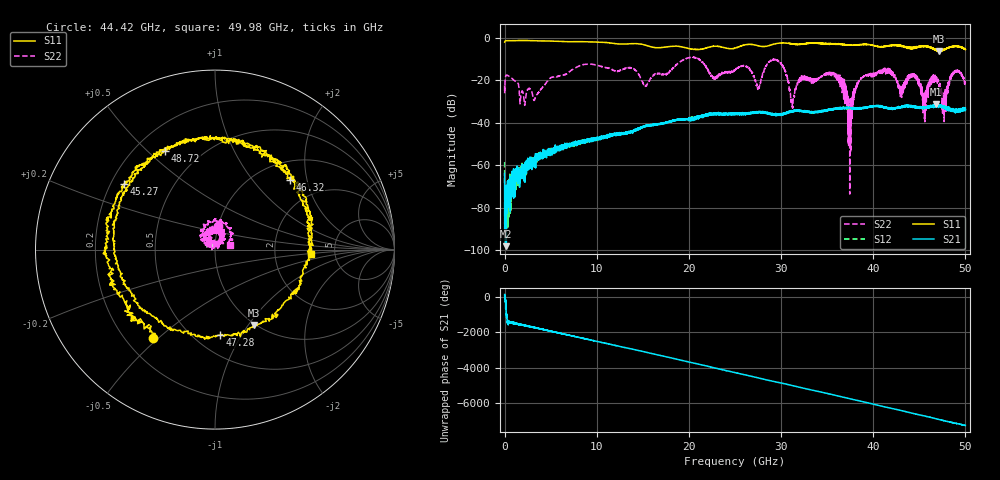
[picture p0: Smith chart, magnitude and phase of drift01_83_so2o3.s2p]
!Created with skrf (http://scikit-rf.org).
# Hz S RI R 50.0
!freq ReS11 ImS11 ReS21 ImS21 ReS12 ImS12 ReS22 ImS22
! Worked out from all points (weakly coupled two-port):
!   10001 points, 300 kHz to 50 GHz, reference 50 ohm
!   highest |S21| = -31.23 dB at 46.85 GHz (marker M1); lowest = -98.1 dB at 185.3 MHz (marker M2)
!   lowest |S11| = -6.5 dB at 47.12 GHz (marker M3), VSWR 2.79, Z = 49.1 - j53.1 ohm
!   |S11| at or under -10 dB: nowhere
!   |S22| runs from -73.6 to -9.2 dB; largest |S21 - S12| = 0.0045
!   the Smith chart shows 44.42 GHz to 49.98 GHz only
!   S11 on the Smith chart (normalised r, x): 44.42 GHz: 0.31, -0.48; 45.27 GHz: 0.25, +0.30; 46.32 GHz: 1.38, +1.58; 47.28 GHz: 0.66, -0.82; 48.72 GHz: 0.32, +0.57; 49.98 GHz: 3.30, -0.21
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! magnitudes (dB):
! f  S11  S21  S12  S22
! 300 kHz  -2.1  -63.8  -58.5  -22.5
! 185.3 MHz  -1.5  -98.1  -78.1  -17.7
! 3.29 GHz  -1.5  -56.8  -56.0  -28.7
! 8.335 GHz  -1.9  -49.1  -48.5  -12.9
! 16.67 GHz  -4.8  -40.8  -40.7  -16.7
! 25 GHz  -5.0  -36.2  -35.9  -15.2
! 29.58 GHz  -2.8  -36.2  -36.1  -10.8
! 31.23 GHz  -3.0  -34.6  -34.5  -32.3
! 33.34 GHz  -2.5  -35.2  -34.9  -20.2
! 36.15 GHz  -3.0  -33.6  -33.4  -18.7
! 37.47 GHz  -3.5  -33.0  -33.1  -31.5
! 38.65 GHz  -3.3  -33.3  -33.1  -19.4
! 41.67 GHz  -3.8  -33.3  -33.0  -15.6
! 44.42 GHz  -4.4  -32.6  -32.8  -17.7
! 45.27 GHz  -4.1  -33.3  -32.9  -24.7
! 46.32 GHz  -4.9  -32.4  -32.4  -19.5
! 46.85 GHz  -5.8  -31.2  -31.8  -18.8
! 47.12 GHz  -6.5  -32.1  -32.3  -22.3
! 47.28 GHz  -6.4  -31.7  -32.2  -24.4
! 48.72 GHz  -4.2  -34.3  -33.9  -16.9
! 49.98 GHz  -5.4  -33.4  -33.6  -21.1
! 50 GHz  -5.5  -33.9  -33.1  -21.2
